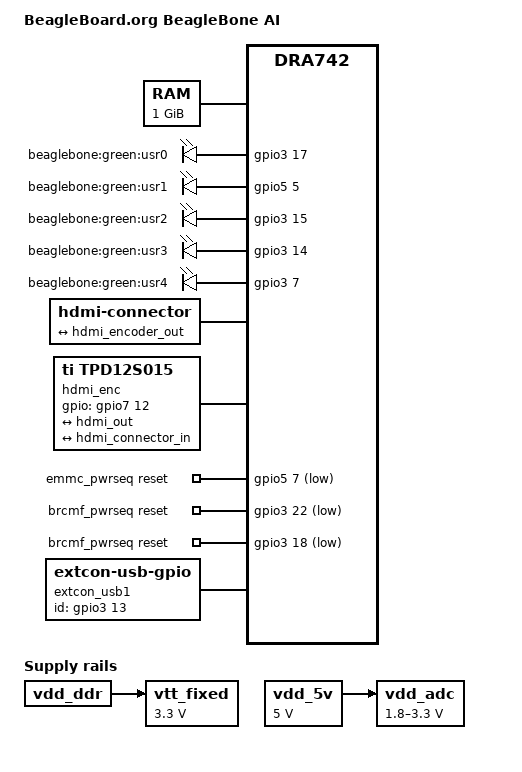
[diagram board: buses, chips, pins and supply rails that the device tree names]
/**
 * @file 	HW.dts
 * @brief 	Devicetree overlay for bbai hardware
 *
 * see spruic2d, am5728 and 
 * https://github.com/beagleboard/beaglebone-ai/wiki/System-Reference-Manual 
 * for details and mode/offset definitions.
 *
 */

/dts-v1/;

#include "HW.defines.dtsi"
#include "dra74x.dtsi"
#include "am57xx-commercial-grade.dtsi"
#include "dra74x-mmc-iodelay.dtsi"
#include "dra74-ipu-dsp-common.dtsi"

// Device tree -------------------------------------------------------------------------------------
/ {
    model = "BeagleBoard.org BeagleBone AI";
    compatible = "beagle,am5729-beagleboneai", "ti,am5728","ti,dra742", "ti,dra74", "ti,dra7";
    chosen {base_dtb = "HW.dts"; base_dtb_version = "001"; stdout-path = &uart1;};
    aliases {rtc0 = &tps659038_rtc; rtc1 = &rtc; display0 = &hdmi_conn;};

    // default stuff -------------------------------------------------------------------------------
    memory@0 {device_type = "memory";reg = <0x0 0x80000000 0x0 0x40000000>;};
    reserved-memory {
        #address-cells = <2>;#size-cells = <2>;ranges;
        cmem_block_mem_1_ocmc3: cmem_block_mem@40500000 {reg = <0x0 0x40500000 0x0 0x100000>;no-map;status = "okay";};
        ipu2_memory_region: ipu2-memory@95800000 {compatible = "shared-dma-pool";reg = <0x0 0x95800000 0x0 0x3800000>;reusable;status = "okay";};
        dsp1_memory_region: dsp1-memory@99000000 {compatible = "shared-dma-pool";reg = <0x0 0x99000000 0x0 0x4000000>;reusable;status = "okay";};
        ipu1_memory_region: ipu1-memory@9d000000 {compatible = "shared-dma-pool";reg = <0x0 0x9d000000 0x0 0x2000000>;reusable;status = "okay";};
        dsp2_memory_region: dsp2-memory@9f000000 {compatible = "shared-dma-pool";reg = <0x0 0x9f000000 0x0 0x800000>;reusable;status = "okay";};
        cmem_block_mem_0: cmem_block_mem@a0000000 {reg = <0x0 0xa0000000 0x0 0x18000000>;no-map;status = "okay";};
    };
    cmem {
        compatible = "ti,cmem";#address-cells = <1>;#size-cells = <0>;#pool-size-cells = <2>;status = "okay";
        cmem_block_0: cmem_block@0 {reg = <0>;memory-region = <&cmem_block_mem_0>;cmem-buf-pools = <1 0x0 0x18000000>;};
        cmem_block_1: cmem_block@1 {reg = <1>;memory-region = <&cmem_block_mem_1_ocmc3>;};
    };

    vdd_adc: gpioregulator-vdd_adc {compatible = "regulator-gpio";regulator-name = "vdd_adc";vin-supply = <&vdd_5v>;regulator-min-microvolt = <1800000>;regulator-max-microvolt = <3300000>;regulator-always-on;regulator-boot-on;gpios = <&gpio3 27 GPIO_ACTIVE_HIGH>;states = <1800000 03300000 1>;};
    vdd_5v: fixedregulator-vdd_5v {compatible = "regulator-fixed";regulator-name = "vdd_5v";regulator-min-microvolt = <5000000>;regulator-max-microvolt = <5000000>;regulator-always-on;regulator-boot-on;};
    vtt_fixed: fixedregulator-vtt {compatible = "regulator-fixed";regulator-name = "vtt_fixed";vin-supply = <&vdd_ddr>;regulator-min-microvolt = <3300000>;regulator-max-microvolt = <3300000>;regulator-always-on;regulator-boot-on;};

    leds {
        compatible = "gpio-leds";pinctrl-names = "default";pinctrl-0 = <&led_pins_default>;
        led0 {label = "beaglebone:green:usr0";gpios = <&gpio3 17 GPIO_ACTIVE_HIGH>;linux,default-trigger = "heartbeat";default-state = "off";};
        led1 {label = "beaglebone:green:usr1";gpios = <&gpio5 5 GPIO_ACTIVE_HIGH>;linux,default-trigger = "mmc0";default-state = "off";};
        led2 {label = "beaglebone:green:usr2";gpios = <&gpio3 15 GPIO_ACTIVE_HIGH>;linux,default-trigger = "cpu";default-state = "off";};
        led3 {label = "beaglebone:green:usr3";gpios = <&gpio3 14 GPIO_ACTIVE_HIGH>;linux,default-trigger = "mmc1";default-state = "off";};
        led4 {label = "beaglebone:green:usr4";gpios = <&gpio3 7 GPIO_ACTIVE_HIGH>;linux,default-trigger = "netdev";default-state = "off";};};

    hdmi_conn: connector@0 {compatible = "hdmi-connector";label = "hdmi";type = "a";port {hdmi_connector_in: endpoint {remote-endpoint = <&hdmi_encoder_out>;};};};
    hdmi_enc: encoder@0 {compatible = "ti,tpd12s015";gpios = <0>,<0>,<&gpio7 12 GPIO_ACTIVE_HIGH>;ports {#address-cells = <0x1>;#size-cells = <0x0>;port@0 {reg = <0x0>;hdmi_encoder_in: endpoint@0 {remote-endpoint = <&hdmi_out>;};};port@1 {reg = <0x1>;hdmi_encoder_out: endpoint@0 {remote-endpoint = <&hdmi_connector_in>;};};};};

    emmc_pwrseq: emmc_pwrseq {compatible = "mmc-pwrseq-emmc";reset-gpios = <&gpio5 7 GPIO_ACTIVE_LOW>;pinctrl-names = "default";pinctrl-0 = <&emmc_pwrseq_pins_default>;};
    brcmf_pwrseq: brcmf_pwrseq {compatible = "mmc-pwrseq-simple";pinctrl-names = "default";pinctrl-0 = <&brcmf_pwrseq_pins_default>;reset-gpios = <&gpio3 22 GPIO_ACTIVE_LOW>,	/* BT-REG-ON */<&gpio3 18 GPIO_ACTIVE_LOW>;	/* WL-REG-ON */};

    unused_pins: unused_pins {compatible = "gpio-leds";pinctrl-names = "default";pinctrl-0 = <&unused_pins_default>;};
    extcon_usb1: extcon_usb1 {compatible = "linux,extcon-usb-gpio";ti,enable-id-detection;id-gpio = <&gpio3 13 GPIO_ACTIVE_HIGH>;pinctrl-names = "default";pinctrl-0 = <&extcon_usb1_pins_default>;};

    //custom stuff ---------------------------------------------------------------------------------
    default_pins: default_pins {compatible = "gpio-leds";pinctrl-names = "default";pinctrl-0 = <&default_header_pins>;};
};

#include "HW.pinmuxer.dtsi"
#include "HW.ocp.dtsi"
#include "HW.misc.dtsi"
